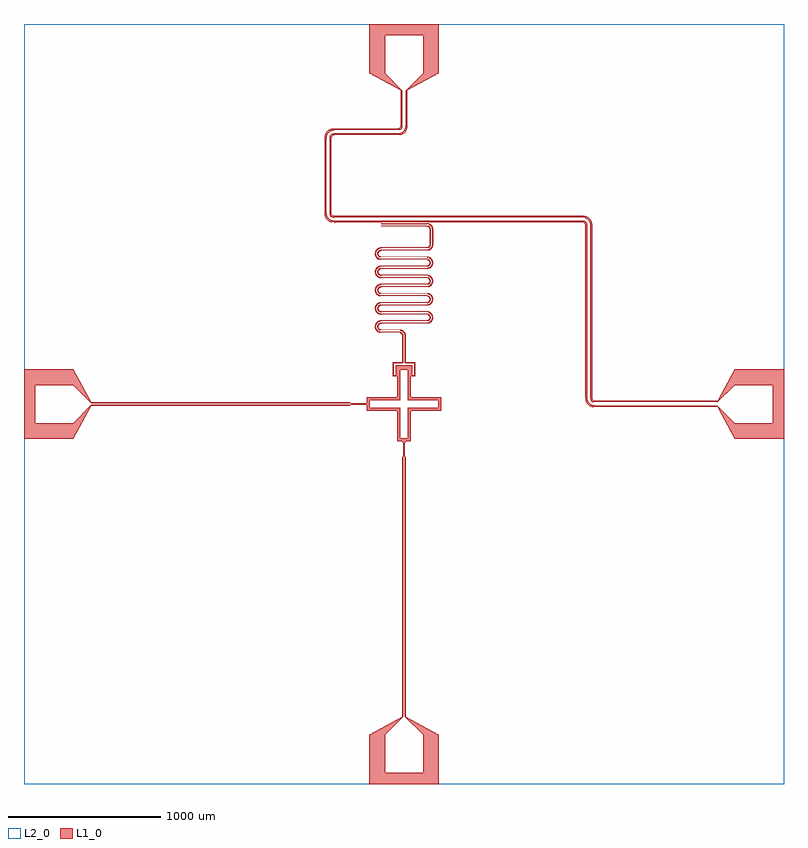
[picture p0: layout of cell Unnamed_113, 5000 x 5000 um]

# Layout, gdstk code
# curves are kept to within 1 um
import gdstk
lib = gdstk.Library(unit=1e-6, precision=1e-09)
def R(c, l, rs):  # rectangles x0, y0, x1, y1
    for r in rs: c.add(gdstk.rectangle(r[:2], r[2:], *l))
def P(c, l, *ps):  # polygons
    for p in ps: c.add(gdstk.Polygon(p, *l))
L1_0 = (1, 0)
L2_0 = (2, 0)

unnamed_113 = lib.new_cell('Unnamed_113')
P(unnamed_113, L1_0, [(-228,-2500),(-228,-2177),(-10,-2057),(-10,-351),(-4,-341),(-5,-254),(-2,-254),(-2,-341),(-5,-351),(-5,-2057),(-125,-2177),(-125,-2427),(125,-2427),(125,-2177),(5,-2057),(5,-351),(2,-341),(2,-250),(-11,-250),(-11,-248),(13,-248),(13,-250),(4,-250),(4,-341),(10,-351),(10,-2057),(228,-2177),(228,-2500)],
  [(-2500,-228),(-2500,125),(-2427,125),(-2427,-125),(-2177,-125),(-2057,-5),(-356,-5),(-345.5,-2.5),(-252,-2.5),(-252,2.5),(-345.5,2.5),(-356,5),(-2057,5),(-2177,125),(-2500,125),(-2500,228),(-2177,228),(-2057.55,11),(-356,11),(-345.5,5.5),(-249,5.5),(-249,-5.5),(-345.5,-5.5),(-356,-11),(-2057.55,-11),(-2177,-228)],
  [(-44,-245),(-44,-44),(-245,-44),(-245,44),(-44,44),(-44,225),(-24,225),(-24,24),(-225,24),(-225,-24),(-24,-24),(-24,-225),(24,-225),(24,-24),(225,-24),(225,24),(24,24),(24,225),(-44,225),(-44,245),(44,245),(44,44),(245,44),(245,-44),(44,-44),(44,-245)],
  [(-73,184),(-73,274),(-11.002,274),(-11.002,448.956),(-11.951,454.929),(-14.352,459.774),(-18.022,463.747),(-22.662,466.524),(-27.896,467.883),(-151.303,468.019),(-159.035,469.006),(-166.441,471.438),(-174.312,475.983),(-180.989,482.15),(-186.143,489.636),(-189.154,496.826),(-190.751,504.455),(-190.751,513.545),(-188.748,522.41),(-184.842,530.617),(-178.296,538.674),(-171.063,544.179),(-161.553,548.341),(-152.602,549.919),(152.403,550.154),(160.269,553.017),(165.816,558.476),(168.708,565.701),(168.461,573.479),(166.142,579.017),(162.21,583.554),(157.059,586.638),(150.601,587.989),(-150.089,588),(-157.762,588.74),(-166.441,591.438),(-174.312,595.983),(-180.989,602.15),(-186.143,609.636),(-189.521,618.074),(-190.957,627.049),(-190.134,637.397),(-187.298,646.033),(-181.825,654.854),(-173.252,662.772),(-164.025,667.529),(-152.602,669.919),(152.403,670.154),(159.757,672.7),(165.474,677.98),(168.594,685.109),(168.594,692.891),(166.451,698.499),(162.666,703.159),(157.059,706.638),(151.203,707.96),(-150.089,708),(-157.762,708.74),(-166.441,711.438),(-174.312,715.983),(-180.989,722.15),(-186.143,729.636),(-189.521,738.074),(-190.957,747.049),(-190.586,754.835),(-188.303,763.633),(-183.401,772.783),(-175.347,781.229),(-166.441,786.562),(-155.192,789.672),(151.203,790.04),(158.704,792.113),(164.744,797.02),(168.31,803.937),(168.708,812.299),(166.451,818.499),(162.666,823.159),(157.059,826.638),(151.203,827.96),(-150.089,828),(-157.762,828.74),(-166.441,831.438),(-173.252,835.228),(-180.121,841.18),(-184.842,847.383),(-188.748,855.59),(-190.751,864.455),(-190.751,873.545),(-189.154,881.174),(-184.139,891.711),(-176.357,900.409),(-166.441,906.562),(-155.192,909.672),(151.203,910.04),(158.704,912.113),(164.744,917.02),(168.31,923.937),(168.803,931.704),(167.021,937.437),(163.109,942.75),(157.615,946.405),(151.203,947.96),(-150.089,948),(-157.762,948.74),(-165.241,950.936),(-172.169,954.507),(-178.296,959.326),(-184.139,966.289),(-187.82,973.159),(-190.38,981.88),(-190.957,990.951),(-189.848,998.666),(-184.842,1010.617),(-176.357,1020.409),(-166.441,1026.562),(-153.899,1029.816),(149.954,1030),(157.338,1031.476),(161.743,1034.065),(165.298,1037.735),(167.746,1042.219),(168.912,1047.194),(168.938,1150.506),(167.281,1156.893),(163.539,1162.328),(157.891,1166.283),(151.504,1167.94),(-150.002,1168),(-150.002,1174),(151.584,1173.95),(160.021,1171.903),(167.535,1166.817),(172.739,1159.385),(174.919,1150.981),(174.797,1045.835),(173.057,1039.341),(169.892,1033.86),(165.138,1029.106),(159.657,1025.941),(149.978,1024),(-153.329,1023.842),(-164.035,1021.064),(-172.5,1015.812),(-179.743,1007.453),(-184.016,997.252),(-184.963,990.665),(-184.471,982.922),(-182.698,976.509),(-179.743,970.547),(-174.947,964.448),(-169.849,960.171),(-164.035,956.936),(-156.626,954.632),(-150.042,954),(151.584,953.949),(160.021,951.902),(167.25,947.093),(172.034,940.806),(174.743,932.558),(174.293,923.106),(169.892,913.86),(162.84,907.551),(153.948,904.315),(-152.222,903.93),(-161.973,901.89),(-171.638,896.512),(-178.513,889.302),(-183.424,879.392),(-184.893,871.774),(-184.787,865.121),(-183.078,857.552),(-179.743,850.547),(-174.947,844.448),(-169.849,840.171),(-164.035,836.936),(-156.626,834.632),(-150.042,834),(151.584,833.949),(159.289,832.209),(166.667,827.631),(171.648,821.5),(174.618,813.341),(174.293,803.106),(170.362,794.499),(163.514,787.969),(153.948,784.315),(-152.222,783.93),(-161.973,781.89),(-170.754,777.185),(-177.854,770.197),(-182.698,761.491),(-184.646,753.981),(-184.893,746.226),(-183.737,739.673),(-180.853,732.47),(-176.454,726.079),(-170.754,720.815),(-164.035,716.936),(-156.626,714.632),(-150.042,714),(151.584,713.949),(159.289,712.209),(166.067,708.151),(171.241,702.18),(174.467,694.12),(174.467,683.88),(170.362,674.499),(162.84,667.551),(153.163,664.202),(-152.222,663.93),(-160.923,662.253),(-168.925,658.444),(-176.454,651.921),(-181.362,644.543),(-184.016,637.252),(-184.998,629.555),(-184.261,621.832),(-181.362,613.457),(-176.454,606.079),(-170.754,600.815),(-164.035,596.936),(-156.626,594.632),(-150.042,594),(151.584,593.949),(159.289,592.209),(166.067,588.151),(171.241,582.18),(174.293,574.894),(174.618,564.659),(170.812,555.152),(163.514,547.969),(158.548,545.508),(153.163,544.202),(-152.222,543.93),(-159.863,542.583),(-167.981,539.03),(-174.947,533.552),(-179.743,527.453),(-183.078,520.448),(-184.787,512.879),(-184.787,505.121),(-183.078,497.552),(-179.743,490.547),(-174.947,484.448),(-168.925,479.556),(-163.01,476.507),(-151.112,474.017),(-26.837,473.799),(-20.343,472.059),(-14.238,468.404),(-9.41,463.176),(-6.25,456.801),(-5.002,448.98),(-5.002,269),(-68,269),(-68,189),(-53,189),(-53,254),(53,254),(53,189),(68,189),(68,269),(4.998,269),(4.959,450.665),(2.281,462.522),(-4.671,473.153),(-14.959,480.603),(-27.228,483.89),(-149.962,484),(-157.045,485.013),(-162.157,487.154),(-167.254,490.907),(-170.816,495.152),(-173.355,500.078),(-174.747,505.442),(-174.847,511.771),(-173.355,517.922),(-170.816,522.848),(-167.254,527.093),(-162.157,530.846),(-157.045,532.987),(-150.795,533.987),(155.528,534.439),(161.969,536.11),(168.921,539.556),(174.943,544.448),(179.138,549.612),(182.694,556.509),(184.467,562.922),(184.959,570.665),(184.012,577.252),(179.739,587.453),(172.496,595.812),(164.031,601.064),(153.325,603.842),(-154.733,604.452),(-160.747,606.427),(-165.456,609.349),(-169.405,613.237),(-172.401,617.899),(-174.297,623.106),(-174.998,628.603),(-174.297,634.894),(-172.401,640.101),(-168.895,645.371),(-163.518,650.031),(-157.045,652.987),(-150.795,653.987),(155.528,654.439),(161.969,656.11),(167.977,658.97),(173.335,662.915),(178.509,668.698),(181.836,674.46),(184.257,681.832),(184.994,688.445),(184.467,695.078),(180.849,705.53),(173.335,715.085),(164.031,721.064),(153.325,723.842),(-154.733,724.452),(-160.025,726.098),(-164.824,728.869),(-168.895,732.629),(-172.038,737.194),(-174.097,742.338),(-174.973,747.81),(-174.622,753.341),(-173.06,758.658),(-169.896,764.14),(-164.824,769.131),(-158.552,772.492),(-151.588,773.949),(155.528,774.439),(161.969,776.11),(167.977,778.97),(173.335,782.915),(178.509,788.698),(181.836,794.46),(184.012,800.748),(184.959,807.335),(184.642,813.981),(181.358,824.543),(174.151,834.331),(165.041,840.603),(153.325,843.842),(-154.733,844.452),(-160.025,846.098),(-164.824,848.869),(-171.652,856.5),(-173.874,861.577),(-174.923,867.019),(-173.626,877.176),(-170.366,883.501),(-165.456,888.651),(-159.293,892.209),(-151.588,893.949),(155.528,894.439),(161.969,896.11),(167.977,898.97),(173.335,902.915),(178.509,908.698),(181.836,914.46),(184.012,920.748),(184.959,927.335),(184.642,933.981),(181.358,944.543),(174.151,954.331),(165.041,960.603),(153.325,963.842),(-153.952,964.315),(-163.518,967.969),(-170.816,975.152),(-174.622,984.659),(-174.973,990.19),(-174.097,995.662),(-170.816,1002.848),(-165.456,1008.651),(-159.293,1012.209),(-151.588,1013.949),(150.553,1014.004),(157.709,1014.86),(164.031,1016.936),(171.634,1021.488),(177.51,1027.364),(182.062,1034.967),(184.559,1043.47),(184.888,1151.774),(182.062,1163.033),(175.329,1173.153),(165.54,1180.36),(153.877,1183.785),(-150.002,1184),(-150.002,1190),(150.042,1190),(159.031,1188.993),(171.059,1184.178),(180.984,1175.85),(187.815,1164.84),(190.916,1151.6),(190.581,1043.165),(188.298,1034.368),(184.134,1026.289),(178.291,1019.327),(171.059,1013.822),(161.549,1009.66),(150.649,1008.005),(-151.207,1007.96),(-157.063,1006.638),(-162.214,1003.554),(-166.146,999.017),(-168.465,993.479),(-168.598,985.109),(-165.478,977.98),(-159.239,972.398),(-151.207,970.04),(156.476,969.486),(164.021,967.529),(169.933,964.829),(180.117,956.82),(187.294,946.033),(190.747,933.545),(190.87,925.751),(189.517,918.074),(186.735,910.793),(182.625,904.169),(177.336,898.443),(171.059,893.821),(164.021,890.471),(156.476,888.514),(-150.605,887.989),(-156.5,886.853),(-161.266,884.299),(-165.478,880.02),(-167.956,875.214),(-168.884,866.894),(-166.146,858.983),(-160.273,853.017),(-151.808,850.087),(156.476,849.486),(168.786,845.443),(179.219,837.761),(186.735,827.207),(190.582,814.835),(190.953,807.049),(189.844,799.334),(187.294,791.967),(183.397,785.217),(178.292,779.326),(172.165,774.507),(164.021,770.471),(156.476,768.514),(-150.605,767.989),(-155.93,767.05),(-160.775,764.649),(-164.748,760.98),(-167.525,756.34),(-168.941,747.494),(-166.146,738.983),(-160.273,733.017),(-151.808,730.087),(156.476,729.486),(167.62,726.021),(178.292,718.674),(186.139,708.364),(190.376,696.12),(190.953,687.049),(189.844,679.334),(187.294,671.967),(183.397,665.217),(178.292,659.326),(172.165,654.507),(164.021,650.471),(156.476,648.514),(-150.605,647.989),(-155.355,647.229),(-160.273,644.983),(-163.958,641.891),(-167.025,637.437),(-168.598,632.891),(-168.979,628.096),(-166.455,619.501),(-160.273,613.017),(-151.808,610.087),(156.476,609.486),(167.62,606.021),(178.292,598.674),(186.139,588.364),(190.13,577.397),(190.994,569.651),(190.13,560.603),(187.816,553.159),(183.397,545.217),(178.292,539.326),(172.165,534.507),(164.021,530.471),(156.476,528.514),(-150.605,527.989),(-159.239,525.602),(-165.82,519.524),(-168.884,511.106),(-167.75,502.22),(-162.67,494.841),(-154.773,490.61),(-26.753,489.871),(-19.076,488.518),(-12.38,486.02),(-6.219,482.398),(-0.781,477.761),(4.134,471.711),(7.559,465.438),(9.843,458.666),(10.916,451.6),(10.998,274),(73,274),(73,184),(48,184),(48,249),(-48,249),(-48,184)],
  [(2177,-228),(2063.605,-22),(1257.553,-21.91),(1240.916,-20.035),(1227.287,-15.396),(1215.057,-7.425),(1205.363,3.199),(1196.715,21.824),(1194.014,45.507),(1194,1167.319),(1206,1167.319),(1206.011,45.899),(1208.099,25.725),(1215.173,10.111),(1223.366,1.268),(1233.444,-5.03),(1244.734,-8.571),(1258.93,-9.943),(2062,-10),(2177,-125),(2427,-125),(2427,125),(2177,125),(2062,10),(1261.297,10.018),(1244.357,12.147),(1233.579,19.08),(1227.706,29.807),(1226.006,46.709),(1226,1167.319),(1238,1167.319),(1238.002,47.654),(1238.685,35.703),(1241.187,28.752),(1248.25,23.499),(1262.041,22.011),(2063.605,22),(2177,228),(2500,228),(2500,-228)],
  [(1226,1167.319),(1223.474,1191.868),(1219.728,1201.188),(1213.95,1209.556),(1206.45,1216.425),(1197.29,1221.583),(1187.266,1224.571),(1174.947,1225.886),(-452.903,1226.004),(-469.896,1227.625),(-480.92,1233.579),(-488.066,1245.026),(-489.994,1262.709),(-489.986,1744.321),(-488.791,1758.168),(-485.019,1767.569),(-474.623,1776.663),(-458.926,1779.87),(-43.359,1780.047),(-25.247,1782.222),(-10.965,1788.586),(-2.74,1795.67),(3.646,1804.66),(7.651,1814.77),(9.64,1826.758),(10,2062),(125,2177),(125,2427),(-228,2427),(-228,2500),(228,2500),(228,2177),(22,2063.605),(21.432,1823.905),(18.481,1809.07),(12.903,1796.676),(4.314,1785.686),(-6.864,1776.985),(-22.408,1770.561),(-41.238,1768.1),(-455.27,1767.973),(-467.75,1766.501),(-474.43,1761.785),(-477.163,1755.138),(-477.992,1743.593),(-477.998,1263.654),(-476.901,1249.666),(-472.761,1242.379),(-465.717,1238.956),(-452.346,1238.002),(1176.201,1237.845),(1192.044,1235.819),(1205.497,1231.01),(1217.109,1223.283),(1226.637,1212.801),(1231.952,1203.526),(1235.538,1193.203),(1238,1167.319)],
  [(1194,1167.319),(1193.192,1180.989),(1190.086,1188.224),(1183.694,1192.519),(1172.193,1193.955),(-454.493,1194.014),(-469.304,1194.946),(-481.128,1197.582),(-492.003,1202.327),(-501.768,1209.292),(-510.637,1219.199),(-517.14,1231.281),(-520.751,1244.68),(-521.978,1260.768),(-521.936,1747.51),(-518.605,1770.534),(-509.078,1788.909),(-500.104,1798.125),(-489.497,1805.01),(-477.397,1809.489),(-463.511,1811.654),(-42.91,1812.069),(-29.307,1814.831),(-25.244,1818.668),(-22.987,1824.143),(-22,2063.605),(-228,2177),(-228,2427),(-125,2427),(-125,2177),(-10,2062),(-10.006,1836.709),(-11.254,1821.625),(-14.571,1813.084),(-20.473,1806.389),(-27.981,1802.275),(-38.109,1800.316),(-458.947,1799.886),(-471.897,1798.444),(-482.399,1795.101),(-491.555,1789.595),(-499.275,1781.963),(-507.191,1766.826),(-509.953,1746.641),(-509.985,1261.48),(-509.054,1247.552),(-506.274,1236.461),(-501.221,1226.679),(-493.816,1218.278),(-485.945,1212.687),(-476.985,1208.858),(-454.101,1206.011),(1173.337,1205.929),(1190.971,1202.495),(1197.342,1198.024),(1202.144,1191.658),(1205.188,1182.047),(1206,1167.319)])
R(unnamed_113, L2_0, [(-2500,-2500,2500,2500)])

lib.write_gds('Unnamed_113.gds')
